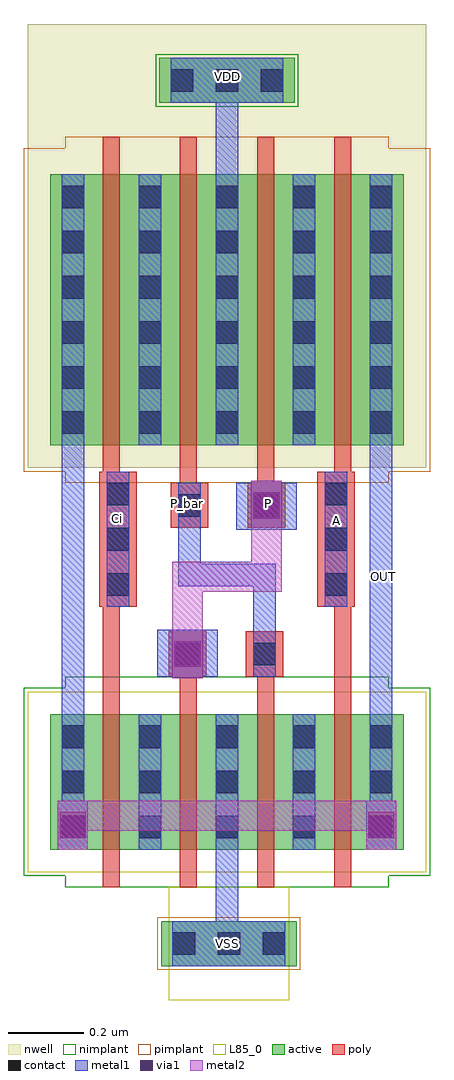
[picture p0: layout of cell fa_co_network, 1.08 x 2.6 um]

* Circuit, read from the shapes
.subckt fa_co_network A Ci OUT P P_bar VDD VSS
M1 nmos1v_CDNS_764874998100_0/D_drain_1 Ci OUT VSS nfet w=0.36u l=0.045u
M2 VSS P nmos1v_CDNS_764874998100_0/D_drain_1 VSS nfet w=0.36u l=0.045u
M3 nmos1v_CDNS_764874998100_0/D_drain_3 P_bar VSS VSS nfet w=0.36u l=0.045u
M4 OUT A nmos1v_CDNS_764874998100_0/D_drain_3 VSS nfet w=0.36u l=0.045u
M5 pmos1v_CDNS_764874998101_1/D_drain_1 Ci OUT VDD pfet w=0.72u l=0.045u
M6 VDD P_bar pmos1v_CDNS_764874998101_1/D_drain_1 VDD pfet w=0.72u l=0.045u
M7 pmos1v_CDNS_764874998101_1/D_drain_3 P VDD VDD pfet w=0.72u l=0.045u
M8 OUT A pmos1v_CDNS_764874998101_1/D_drain_3 VDD pfet w=0.72u l=0.045u
.ends

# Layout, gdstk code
import gdstk
lib = gdstk.Library(unit=1e-6, precision=5e-10)
def R(c, l, rs):  # rectangles x0, y0, x1, y1
    for r in rs: c.add(gdstk.rectangle(r[:2], r[2:], *l))
def A(c, l, x, y, w, h, nx, ny, dx, dy):  # array of equal rectangles
    R(c, l, [(x+i*dx, y+j*dy, x+i*dx+w, y+j*dy+h) for i in range(nx) for j in range(ny)])
active = (1, 0)
nwell = (2, 0)
poly = (3, 0)
nimplant = (4, 0)
pimplant = (5, 0)
contact = (6, 0)
metal1 = (7, 0)
via1 = (8, 0)
metal2 = (9, 0)
L85_0 = (85, 0)

nmos1v_cdns_764874998100 = lib.new_cell('nmos1v_CDNS_764874998100')
A(nmos1v_cdns_764874998100, active, 0, 0, 0.045, 0.36, 4, 1, 0.205, 0)
A(nmos1v_cdns_764874998100, active, 0.045, 0, 0.16, 0.36, 3, 1, 0.205, 0)
R(nmos1v_cdns_764874998100, active, [(-0.14,0,0,0.36), (0.66,0,0.8,0.36)])
A(nmos1v_cdns_764874998100, poly, 0, -0.1, 0.045, 0.05, 4, 2, 0.205, 0.05)
A(nmos1v_cdns_764874998100, poly, 0, 0, 0.045, 0.36, 4, 1, 0.205, 0)
A(nmos1v_cdns_764874998100, poly, 0, 0.36, 0.045, 0.05, 4, 2, 0.205, 0.05)
R(nmos1v_cdns_764874998100, nimplant, [(-0.1,-0.1,0.76,0.46), (-0.21,-0.07,0.87,0.43)])
A(nmos1v_cdns_764874998100, contact, -0.11, 0.03, 0.06, 0.06, 5, 3, 0.205, 0.12)
A(nmos1v_cdns_764874998100, metal1, -0.11, 0, 0.06, 0.36, 5, 1, 0.205, 0)
R(nmos1v_cdns_764874998100, L85_0, [(-0.2,-0.06,0.86,0.42)])
nmos1v_cdns_764874998100.add(gdstk.Label('S_source_4', (0.73,0.18), layer=1, texttype=0))
nmos1v_cdns_764874998100.add(gdstk.Label('S_source_0', (-0.07,0.18), layer=1, texttype=0))
nmos1v_cdns_764874998100.add(gdstk.Label('G_gate_4', (0.6375,-0.075), layer=3, texttype=0))
nmos1v_cdns_764874998100.add(gdstk.Label('G_gate_4', (0.6375,0.435), layer=3, texttype=0))
nmos1v_cdns_764874998100.add(gdstk.Label('G_gate_3', (0.4325,-0.075), layer=3, texttype=0))
nmos1v_cdns_764874998100.add(gdstk.Label('G_gate_3', (0.4325,0.435), layer=3, texttype=0))
nmos1v_cdns_764874998100.add(gdstk.Label('G_gate_2', (0.2275,-0.075), layer=3, texttype=0))
nmos1v_cdns_764874998100.add(gdstk.Label('G_gate_2', (0.2275,0.435), layer=3, texttype=0))
nmos1v_cdns_764874998100.add(gdstk.Label('G_gate_1', (0.0225,-0.075), layer=3, texttype=0))
nmos1v_cdns_764874998100.add(gdstk.Label('G_gate_1', (0.0225,0.435), layer=3, texttype=0))
nmos1v_cdns_764874998100.add(gdstk.Label('S_source_4', (0.74,0.18), layer=7, texttype=0))
nmos1v_cdns_764874998100.add(gdstk.Label('D_drain_3', (0.535,0.18), layer=7, texttype=0))
nmos1v_cdns_764874998100.add(gdstk.Label('S_source_2', (0.33,0.18), layer=7, texttype=0))
nmos1v_cdns_764874998100.add(gdstk.Label('D_drain_1', (0.125,0.18), layer=7, texttype=0))
nmos1v_cdns_764874998100.add(gdstk.Label('S_source_0', (-0.08,0.18), layer=7, texttype=0))
nmos1v_cdns_764874998100.add(gdstk.Label('B', (0.33,0.18), layer=85, texttype=0))

pmos1v_cdns_764874998101 = lib.new_cell('pmos1v_CDNS_764874998101')
A(pmos1v_cdns_764874998101, active, 0, 0, 0.045, 0.72, 4, 1, 0.205, 0)
A(pmos1v_cdns_764874998101, active, 0.045, 0, 0.16, 0.72, 3, 1, 0.205, 0)
R(pmos1v_cdns_764874998101, active, [(-0.14,0,0,0.72), (0.66,0,0.8,0.72)])
R(pmos1v_cdns_764874998101, nwell, [(-0.2,-0.06,0.86,0.78)])
A(pmos1v_cdns_764874998101, poly, 0, -0.1, 0.045, 0.05, 4, 2, 0.205, 0.05)
A(pmos1v_cdns_764874998101, poly, 0, 0, 0.045, 0.72, 4, 1, 0.205, 0)
A(pmos1v_cdns_764874998101, poly, 0, 0.72, 0.045, 0.05, 4, 2, 0.205, 0.05)
R(pmos1v_cdns_764874998101, pimplant, [(-0.1,-0.1,0.76,0.82), (-0.21,-0.07,0.87,0.79)])
A(pmos1v_cdns_764874998101, contact, -0.11, 0.03, 0.06, 0.06, 5, 6, 0.205, 0.12)
A(pmos1v_cdns_764874998101, metal1, -0.11, 0, 0.06, 0.72, 5, 1, 0.205, 0)
pmos1v_cdns_764874998101.add(gdstk.Label('S_source_4', (0.73,0.36), layer=1, texttype=0))
pmos1v_cdns_764874998101.add(gdstk.Label('S_source_0', (-0.07,0.36), layer=1, texttype=0))
pmos1v_cdns_764874998101.add(gdstk.Label('G_gate_4', (0.6375,-0.075), layer=3, texttype=0))
pmos1v_cdns_764874998101.add(gdstk.Label('G_gate_4', (0.6375,0.795), layer=3, texttype=0))
pmos1v_cdns_764874998101.add(gdstk.Label('G_gate_3', (0.4325,-0.075), layer=3, texttype=0))
pmos1v_cdns_764874998101.add(gdstk.Label('G_gate_3', (0.4325,0.795), layer=3, texttype=0))
pmos1v_cdns_764874998101.add(gdstk.Label('G_gate_2', (0.2275,-0.075), layer=3, texttype=0))
pmos1v_cdns_764874998101.add(gdstk.Label('G_gate_2', (0.2275,0.795), layer=3, texttype=0))
pmos1v_cdns_764874998101.add(gdstk.Label('G_gate_1', (0.0225,-0.075), layer=3, texttype=0))
pmos1v_cdns_764874998101.add(gdstk.Label('G_gate_1', (0.0225,0.795), layer=3, texttype=0))
pmos1v_cdns_764874998101.add(gdstk.Label('S_source_4', (0.74,0.36), layer=7, texttype=0))
pmos1v_cdns_764874998101.add(gdstk.Label('D_drain_3', (0.535,0.36), layer=7, texttype=0))
pmos1v_cdns_764874998101.add(gdstk.Label('S_source_2', (0.33,0.36), layer=7, texttype=0))
pmos1v_cdns_764874998101.add(gdstk.Label('D_drain_1', (0.125,0.36), layer=7, texttype=0))
pmos1v_cdns_764874998101.add(gdstk.Label('S_source_0', (-0.08,0.36), layer=7, texttype=0))
pmos1v_cdns_764874998101.add(gdstk.Label('B', (0.33,0.36), layer=2, texttype=0))

m1_po_cdns_764874998100 = lib.new_cell('M1_PO_CDNS_764874998100')
R(m1_po_cdns_764874998100, poly, [(-0.05,-0.06,0.05,0.06)])
R(m1_po_cdns_764874998100, contact, [(-0.03,-0.03,0.03,0.03)])
R(m1_po_cdns_764874998100, metal1, [(-0.03,-0.06,0.03,0.06)])

m2_m1_cdns_764874998101 = lib.new_cell('M2_M1_CDNS_764874998101')
R(m2_m1_cdns_764874998101, metal1, [(-0.04,-0.065,0.04,0.065)])
R(m2_m1_cdns_764874998101, via1, [(-0.035,-0.035,0.035,0.035)])
R(m2_m1_cdns_764874998101, metal2, [(-0.04,-0.065,0.04,0.065)])

m1_nwell_cdns_7648749981 = lib.new_cell('M1_NWELL_CDNS_764874998102')
R(m1_nwell_cdns_7648749981, active, [(-0.18,-0.06,0.18,0.06)])
R(m1_nwell_cdns_7648749981, nwell, [(-0.21,-0.15,0.21,0.15)])
R(m1_nwell_cdns_7648749981, nimplant, [(-0.19,-0.07,0.19,0.07)])
A(m1_nwell_cdns_7648749981, contact, -0.15, -0.03, 0.06, 0.06, 3, 1, 0.12, 0)
R(m1_nwell_cdns_7648749981, metal1, [(-0.15,-0.06,0.15,0.06)])

m1_psub_cdns_76487499810 = lib.new_cell('M1_PSUB_CDNS_764874998103')
R(m1_psub_cdns_76487499810, active, [(-0.18,-0.06,0.18,0.06)])
R(m1_psub_cdns_76487499810, pimplant, [(-0.19,-0.07,0.19,0.07)])
A(m1_psub_cdns_76487499810, contact, -0.15, -0.03, 0.06, 0.06, 3, 1, 0.12, 0)
R(m1_psub_cdns_76487499810, metal1, [(-0.15,-0.06,0.15,0.06)])
R(m1_psub_cdns_76487499810, L85_0, [(-0.16,-0.15,0.16,0.15)])

m1_po_cdns_764874998104 = lib.new_cell('M1_PO_CDNS_764874998104')
R(m1_po_cdns_764874998104, poly, [(-0.05,-0.18,0.05,0.18)])
A(m1_po_cdns_764874998104, contact, -0.03, -0.15, 0.06, 0.06, 1, 3, 0, 0.12)
R(m1_po_cdns_764874998104, metal1, [(-0.03,-0.18,0.03,0.18)])

fa_co_network = lib.new_cell('fa_co_network')
R(fa_co_network, nwell, [(-0.535,1.305,0.525,1.645)])
R(fa_co_network, metal1, [(-0.035,-0.835,0.04,-0.77), (-0.19,-0.09,-0.03,0.035), (0.39,0.14,0.43,0.2), (0.265,0.275,0.31,0.355), (-0.315,0.28,-0.27,0.365), (0.02,0.3,0.18,0.425), (0.075,0.33,0.125,0.395), (-0.135,0.335,-0.075,0.4), (-0.03,1.465,0.035,1.525)])
fa_co_network.add(gdstk.FlexPath([(0.3025,0.425),(0.3025,-0.09)], 0.045, ends="flush", simple_path=True, layer=3, datatype=0))  # poly
fa_co_network.add(gdstk.FlexPath([(-0.3125,0.425),(-0.3125,-0.09)], 0.045, ends="flush", simple_path=True, layer=3, datatype=0))  # poly
fa_co_network.add(gdstk.FlexPath([(-0.005,-0.8),(0,-0.8)], 0.06, ends=(0.03, 0), simple_path=True, layer=7, datatype=0))  # metal1
fa_co_network.add(gdstk.FlexPath([(-0.005,-0.55),(-0.005,-0.8)], 0.06, ends=(0, 0.03), simple_path=True, layer=7, datatype=0))  # metal1
fa_co_network.add(gdstk.FlexPath([(-0.005,1.245),(-0.005,1.495)], 0.06, ends="flush", simple_path=True, layer=7, datatype=0))  # metal1
fa_co_network.add(gdstk.FlexPath([(0.405,-0.19),(0.405,0.525)], 0.06, ends="flush", simple_path=True, layer=7, datatype=0))  # metal1
fa_co_network.add(gdstk.FlexPath([(-0.415,0.525),(-0.415,-0.19)], 0.06, ends="flush", simple_path=True, layer=7, datatype=0))  # metal1
fa_co_network.add(gdstk.FlexPath([(0.095,0.18),(0.095,-0.03)], 0.06, ends=(0.03, 0), simple_path=True, layer=7, datatype=0))  # metal1
fa_co_network.add(gdstk.FlexPath([(-0.105,0.18),(0.095,0.18)], 0.06, ends="extended", simple_path=True, layer=7, datatype=0))  # metal1
fa_co_network.add(gdstk.FlexPath([(-0.105,0.365),(-0.105,0.18)], 0.06, ends=(0, 0.03), simple_path=True, layer=7, datatype=0))  # metal1
fa_co_network.add(gdstk.FlexPath([(0.405,-0.46),(0.405,-0.485)], 0.08, ends=(0.04, 0), simple_path=True, layer=9, datatype=0))  # metal2
fa_co_network.add(gdstk.FlexPath([(-0.415,-0.46),(0.405,-0.46)], 0.08, ends="extended", simple_path=True, layer=9, datatype=0))  # metal2
fa_co_network.add(gdstk.FlexPath([(-0.415,-0.485),(-0.415,-0.46)], 0.08, ends=(0, 0.04), simple_path=True, layer=9, datatype=0))  # metal2
fa_co_network.add(gdstk.FlexPath([(-0.11,0.175),(-0.11,-0.03)], 0.08, ends=(0.04, 0), simple_path=True, layer=9, datatype=0))  # metal2
fa_co_network.add(gdstk.FlexPath([(0.1,0.175),(-0.11,0.175)], 0.08, ends="extended", simple_path=True, layer=9, datatype=0))  # metal2
fa_co_network.add(gdstk.FlexPath([(0.1,0.365),(0.1,0.175)], 0.08, ends=(0, 0.04), simple_path=True, layer=9, datatype=0))  # metal2
fa_co_network.add(gdstk.Reference(nmos1v_cdns_764874998100, (-0.335,-0.55)))
fa_co_network.add(gdstk.Reference(pmos1v_cdns_764874998101, (-0.335,0.525)))
fa_co_network.add(gdstk.Reference(m1_po_cdns_764874998100, (0.1,0.365)))
fa_co_network.add(gdstk.Reference(m1_po_cdns_764874998100, (-0.11,-0.03)))
fa_co_network.add(gdstk.Reference(m1_po_cdns_764874998100, (-0.105,0.365)))
fa_co_network.add(gdstk.Reference(m1_po_cdns_764874998100, (0.095,-0.03)))
fa_co_network.add(gdstk.Reference(m2_m1_cdns_764874998101, (0.405,-0.485)))
fa_co_network.add(gdstk.Reference(m2_m1_cdns_764874998101, (-0.415,-0.485)))
fa_co_network.add(gdstk.Reference(m2_m1_cdns_764874998101, (-0.11,-0.03)))
fa_co_network.add(gdstk.Reference(m2_m1_cdns_764874998101, (0.1,0.365)))
fa_co_network.add(gdstk.Reference(m1_nwell_cdns_7648749981, (-0.005,1.495)))
fa_co_network.add(gdstk.Reference(m1_psub_cdns_76487499810, (0,-0.8)))
fa_co_network.add(gdstk.Reference(m1_po_cdns_764874998104, (0.285,0.275)))
fa_co_network.add(gdstk.Reference(m1_po_cdns_764874998104, (-0.295,0.275)))
fa_co_network.add(gdstk.Label('VSS', (-0.005,-0.8), layer=7, texttype=0))
fa_co_network.add(gdstk.Label('VSS', (0.0025,-0.8025), layer=7, texttype=0))
fa_co_network.add(gdstk.Label('VDD', (-0.005,1.505), layer=7, texttype=0))
fa_co_network.add(gdstk.Label('VDD', (0.0025,1.495), layer=7, texttype=0))
fa_co_network.add(gdstk.Label('OUT', (0.41,0.175), layer=7, texttype=0))
fa_co_network.add(gdstk.Label('OUT', (0.41,0.17), layer=7, texttype=0))
fa_co_network.add(gdstk.Label('A', (0.285,0.325), layer=7, texttype=0))
fa_co_network.add(gdstk.Label('A', (0.2875,0.315), layer=7, texttype=0))
fa_co_network.add(gdstk.Label('Ci', (-0.295,0.33), layer=7, texttype=0))
fa_co_network.add(gdstk.Label('Ci', (-0.2925,0.3225), layer=7, texttype=0))
fa_co_network.add(gdstk.Label('P', (0.105,0.37), layer=7, texttype=0))
fa_co_network.add(gdstk.Label('P', (0.1,0.3625), layer=7, texttype=0))
fa_co_network.add(gdstk.Label('P_bar', (-0.11,0.37), layer=7, texttype=0))
fa_co_network.add(gdstk.Label('P_bar', (-0.105,0.3675), layer=7, texttype=0))

lib.write_gds('fa_co_network.gds')
